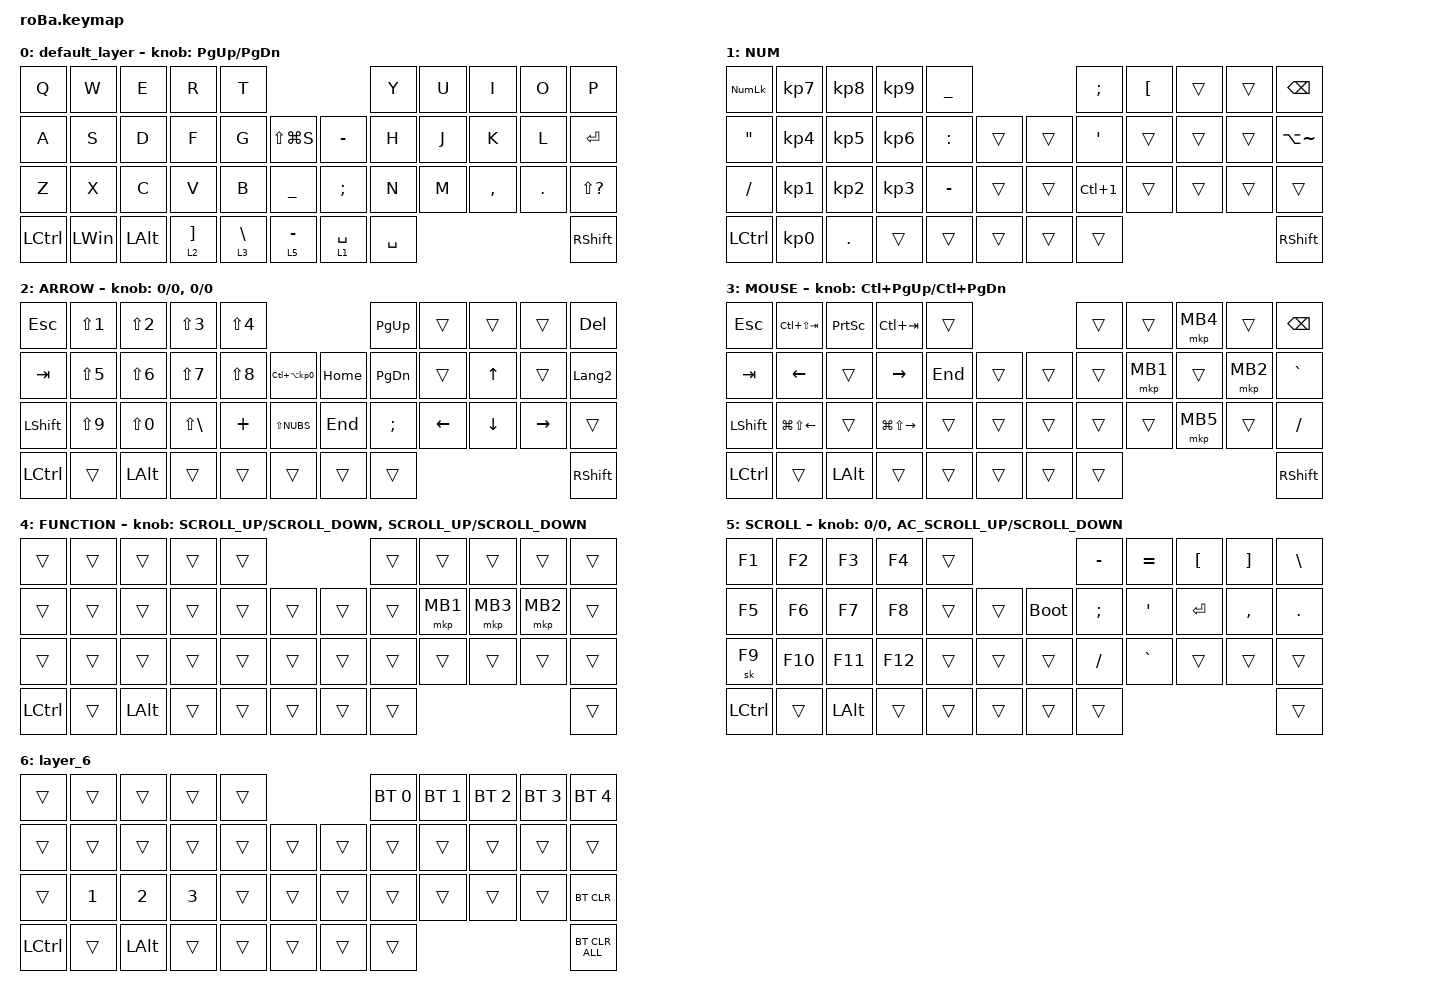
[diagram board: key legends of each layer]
#include <behaviors.dtsi>
#include <dt-bindings/zmk/bt.h>
#include <dt-bindings/zmk/keys.h>
#include <dt-bindings/zmk/pointing.h>

&mt {
    flavor = "balanced";
    quick-tap-ms = <0>;
};

&trackball {
    automouse-layer = <4>;
    scroll-layers = <5>;

    // arrows {
    //     layers = <3>;
    //     bindings =
    //         <&kp RIGHT_ARROW>,
    //         <&kp LEFT_ARROW>,
    //         <&kp UP_ARROW>,
    //         <&kp DOWN_ARROW>;
    //     tick = <10>;
    //     wait-ms = <5>;
    //     tap-ms = <5>;
    // };
};

/ {
    combos { compatible = "zmk,combos"; };

    macros {
        to_layer_0: to_layer_0 {
            compatible = "zmk,behavior-macro-one-param";
            #binding-cells = <1>;
            bindings = <&to 0 &macro_param_1to1 &kp MACRO_PLACEHOLDER>;
            label = "TO_LAYER_0";
        };
    };

    behaviors {
        lt_to_layer_0: lt_to_layer_0 {
            compatible = "zmk,behavior-hold-tap";
            label = "LAYER_TAP_TO_0";
            bindings = <&mo>, <&to_layer_0>;

            #binding-cells = <2>;
            tapping-term-ms = <200>;
        };
    };

    keymap {
        compatible = "zmk,keymap";

        default_layer {
            bindings = <
&kp Q      &kp W         &kp E         &kp R                &kp T                                          &kp Y      &kp U  &kp I      &kp O    &kp P
&kp A      &kp S         &kp D         &kp F                &kp G       &kp LS(LG(S))       &kp MINUS      &kp H      &kp J  &kp K      &kp L    &kp ENTER
&kp Z      &kp X         &kp C         &kp V                &kp B       &kp UNDERSCORE      &kp SEMICOLON  &kp N      &kp M  &kp COMMA  &kp DOT  &kp LS(QUESTION)
&kp LCTRL  &kp LEFT_WIN  &kp LEFT_ALT  &lt 2 RIGHT_BRACKET  &lt 3 BSLH  &lt 5 MINUS         &lt 1 SPACE    &kp SPACE                             &kp RSHIFT
            >;

            sensor-bindings = <&inc_dec_kp PG_UP PAGE_DOWN>;
        };

        NUM {
            bindings = <
&kp KP_NUMLOCK     &kp KP_NUMBER_7  &kp KP_NUMBER_8  &kp KP_NUMBER_9  &kp UNDERSCORE                      &kp SEMICOLON     &kp LBKT  &trans  &trans  &kp BACKSPACE
&kp DOUBLE_QUOTES  &kp KP_NUMBER_4  &kp KP_NUMBER_5  &kp KP_NUMBER_6  &kp COLON       &trans      &trans  &kp APOS          &trans    &trans  &trans  &kp LA(TILDE)
&kp FSLH           &kp KP_NUMBER_1  &kp KP_NUMBER_2  &kp KP_NUMBER_3  &kp MINUS       &trans      &trans  &kp LC(NUMBER_1)  &trans    &trans  &trans  &trans
&kp LEFT_CONTROL   &kp KP_NUMBER_0  &kp PERIOD       &trans           &trans          &trans      &trans  &trans                                      &kp RIGHT_SHIFT
            >;
        };

        ARROW {
            bindings = <
&kp ESCAPE        &kp LS(NUMBER_1)  &kp LS(NUMBER_2)  &kp LS(NUMBER_3)   &kp LS(NUMBER_4)                                         &kp PAGE_UP    &trans    &trans          &trans     &kp DEL
&kp TAB           &kp LS(N5)        &kp LS(NUMBER_6)  &kp LS(N7)         &kp LS(N8)        &kp LC(LA(KP_NUMBER_0))      &kp HOME  &kp PAGE_DOWN  &trans    &kp UP_ARROW    &trans     &kp LANGUAGE_2
&kp LEFT_SHIFT    &kp LS(N9)        &kp LS(N0)        &kp LS(BACKSLASH)  &kp PLUS          &kp LS(NUBS)                 &kp END   &kp SEMICOLON  &kp LEFT  &kp DOWN_ARROW  &kp RIGHT  &trans
&kp LEFT_CONTROL  &trans            &kp LALT          &trans             &trans            &trans                       &trans    &trans                                              &kp RSHFT
            >;

            sensor-bindings = <&inc_dec_kp 0 0>, <&inc_dec_kp 0 0>;
        };

        MOUSE {
            bindings = <
&kp ESCAPE        &kp LC(LS(TAB))         &kp PRINTSCREEN  &kp LC(TAB)              &trans                       &trans  &trans    &mkp MB4  &trans    &kp BACKSPACE
&kp TAB           &kp LEFT_ARROW          &trans           &kp RIGHT_ARROW          &kp END  &trans      &trans  &trans  &mkp MB1  &trans    &mkp MB2  &kp GRAVE
&kp LEFT_SHIFT    &kp LG(LS(LEFT_ARROW))  &trans           &kp LG(LS(RIGHT_ARROW))  &trans   &trans      &trans  &trans  &trans    &mkp MB5  &trans    &kp FSLH
&kp LEFT_CONTROL  &trans                  &kp LEFT_ALT     &trans                   &trans   &trans      &trans  &trans                                &kp RSHIFT
            >;

            sensor-bindings = <&inc_dec_kp LC(PAGE_UP) LC(PAGE_DOWN)>;
        };

        FUNCTION {
            bindings = <
&trans            &trans  &trans    &trans  &trans                      &trans  &trans    &trans    &trans    &trans
&trans            &trans  &trans    &trans  &trans  &trans      &trans  &trans  &mkp MB1  &mkp MB3  &mkp MB2  &trans
&trans            &trans  &trans    &trans  &trans  &trans      &trans  &trans  &trans    &trans    &trans    &trans
&kp LEFT_CONTROL  &trans  &kp LALT  &trans  &trans  &trans      &trans  &trans                                &trans
            >;

            sensor-bindings =
                <&inc_dec_kp K_SCROLL_UP K_SCROLL_DOWN>,
                <&inc_dec_kp K_SCROLL_UP K_SCROLL_DOWN>;
        };

        SCROLL {
            bindings = <
&kp F1     &kp F2   &kp F3    &kp F4   &trans                           &kp MINUS  &kp EQUAL  &kp LBKT   &kp RBKT   &kp BSLH
&kp F5     &kp F6   &kp F7    &kp F8   &trans  &trans      &bootloader  &kp SEMI   &kp APOS   &kp ENTER  &kp COMMA  &kp DOT
&sk F9     &kp F10  &kp F11   &kp F12  &trans  &trans      &trans       &kp FSLH   &kp GRAVE  &trans     &trans     &trans
&kp LCTRL  &trans   &kp LALT  &trans   &trans  &trans      &trans       &trans                                      &trans
            >;

            sensor-bindings =
                <&inc_dec_kp 0 0>,
                <&inc_dec_kp C_AC_SCROLL_UP K_SCROLL_DOWN>;
        };

        layer_6 {
            bindings = <
&trans     &trans        &trans        &trans        &trans                      &bt BT_SEL 0  &bt BT_SEL 1  &bt BT_SEL 2  &bt BT_SEL 3  &bt BT_SEL 4
&trans     &trans        &trans        &trans        &trans  &trans      &trans  &trans        &trans        &trans        &trans        &trans
&trans     &kp NUMBER_1  &kp NUMBER_2  &kp NUMBER_3  &trans  &trans      &trans  &trans        &trans        &trans        &trans        &bt BT_CLR
&kp LCTRL  &trans        &kp LALT      &trans        &trans  &trans      &trans  &trans                                                  &bt BT_CLR_ALL
            >;
        };
    };
};
